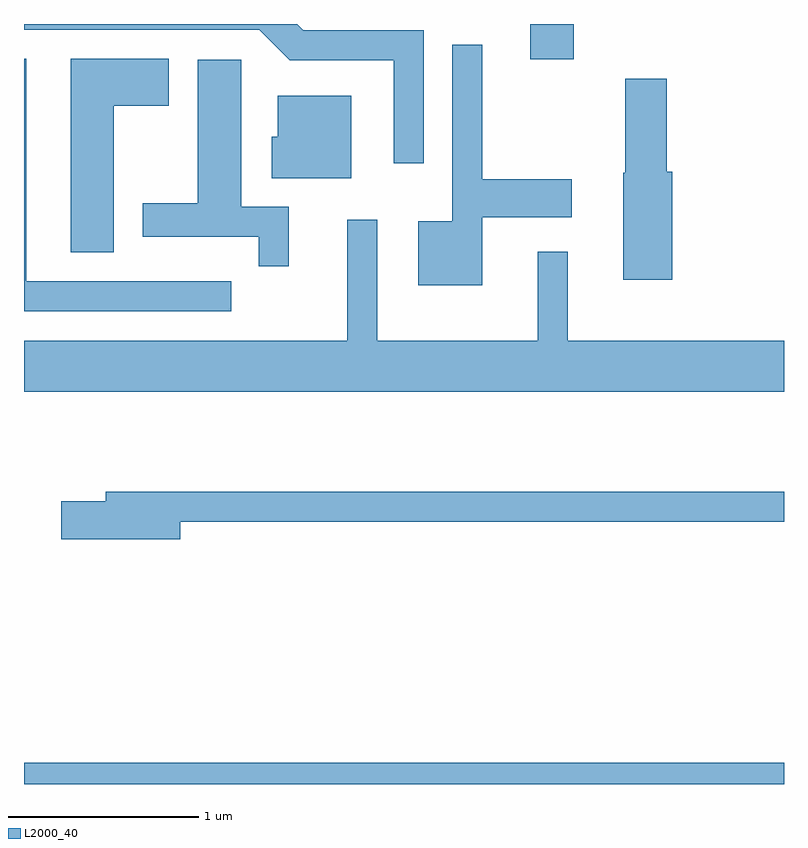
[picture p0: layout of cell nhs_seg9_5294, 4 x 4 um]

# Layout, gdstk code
import gdstk
lib = gdstk.Library(unit=1e-6, precision=1e-09)
def R(c, l, rs):  # rectangles x0, y0, x1, y1
    for r in rs: c.add(gdstk.rectangle(r[:2], r[2:], *l))
def P(c, l, *ps):  # polygons
    for p in ps: c.add(gdstk.Polygon(p, *l))
L2000_40 = (2000, 40)

nhs_seg9_5294 = lib.new_cell('nhs_seg9_5294')
R(nhs_seg9_5294, L2000_40, [(341.611,1976.432,345.611,1976.544), (344.276,1980.246,344.504,1980.432)])
P(nhs_seg9_5294, L2000_40, [(343.714,1980.399),(343.082,1980.399),(343.049,1980.432),(341.611,1980.432),(341.611,1980.401),(342.849,1980.401),(343.009,1980.241),(343.556,1980.241),(343.556,1979.698),(343.714,1979.698)],
  [(344.024,1979.416),(344.494,1979.416),(344.494,1979.614),(344.024,1979.614),(344.024,1980.323),(343.866,1980.323),(343.866,1979.394),(343.686,1979.394),(343.686,1979.056),(344.024,1979.056)],
  [(342.703,1979.079),(341.624,1979.079),(341.624,1980.249),(341.611,1980.249),(341.611,1978.921),(342.703,1978.921)],
  [(342.084,1980.001),(342.374,1980.001),(342.374,1980.249),(341.856,1980.249),(341.856,1979.231),(342.084,1979.231)],
  [(343.004,1979.469),(342.754,1979.469),(342.754,1980.244),(342.526,1980.244),(342.526,1979.489),(342.236,1979.489),(342.236,1979.311),(342.846,1979.311),(342.846,1979.158),(343.004,1979.158)],
  [(345.024,1979.654),(344.994,1979.654),(344.994,1980.144),(344.776,1980.144),(344.776,1979.65),(344.766,1979.65),(344.766,1979.086),(345.024,1979.086)],
  [(343.334,1980.054),(342.946,1980.054),(342.946,1979.839),(342.916,1979.839),(342.916,1979.621),(343.334,1979.621)],
  [(345.611,1978.764),(344.474,1978.764),(344.474,1979.233),(344.316,1979.233),(344.316,1978.764),(343.469,1978.764),(343.469,1979.403),(343.311,1979.403),(343.311,1978.764),(341.611,1978.764),(341.611,1978.496),(345.611,1978.496)],
  [(342.434,1977.811),(345.611,1977.811),(345.611,1977.969),(342.041,1977.969),(342.041,1977.919),(341.806,1977.919),(341.806,1977.721),(342.434,1977.721)])

lib.write_gds('nhs_seg9_5294.gds')
